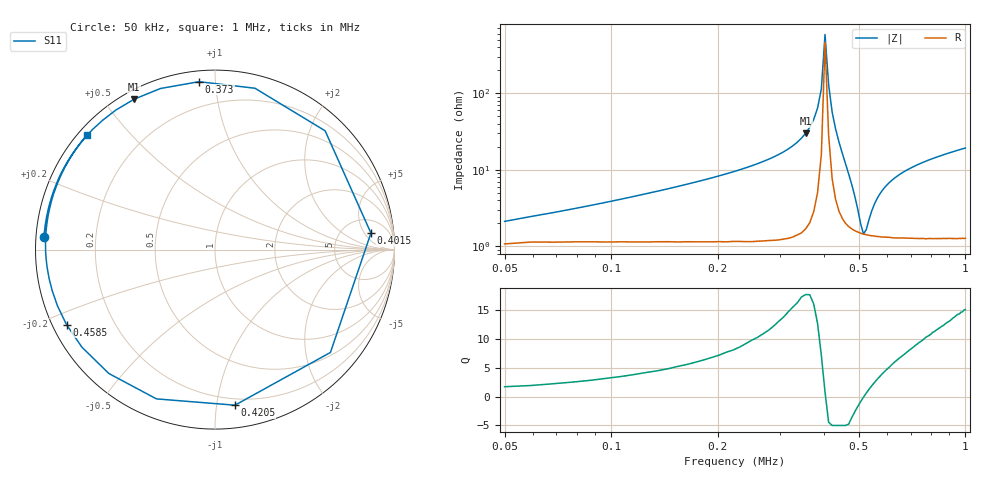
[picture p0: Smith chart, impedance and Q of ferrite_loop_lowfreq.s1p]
# Hz S RI R 50
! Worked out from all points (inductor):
!   101 points, 50 kHz to 1 MHz, reference 50 ohm
!   read as one part to ground: L = 5.48 uH near 97.5 kHz
!   highest Q = 17.6 at 354 kHz (marker M1), where L = 13.4 uH
!   self-resonance near 408.5 kHz
!   S11 on the Smith chart (normalised r, x): 50 kHz: 0.02, +0.04; 373 kHz: 0.06, +0.91; 401.5 kHz: 9, +7; 420.5 kHz: 0.15, -1.12; 458.5 kHz: 0.04, -0.24; 1 MHz: 0.03, +0.38
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50000  -0.9554 0.0698
173500  -0.9209 0.2566
240000  -0.8752 0.3868
287500  -0.8058 0.5159
306500  -0.7567 0.585
325500  -0.6809 0.6706
344500  -0.552 0.7778
354000  -0.4502 0.838
363500  -0.3044 0.8975
373000  -0.0894 0.9355
382500  0.2227 0.899
392000  0.6136 0.6618
401500  0.8688 0.092
411000  0.6432 -0.573
420500  0.1113 -0.8669
430000  -0.3262 -0.8317
439500  -0.5915 -0.6902
449000  -0.7413 -0.5439
458500  -0.8273 -0.418
468000  -0.8773 -0.3144
487000  -0.9247 -0.1592
506000  -0.9411 -0.0495
525000  -0.9442 0.0323
572500  -0.9324 0.1729
648500  -0.8984 0.3126
762500  -0.8405 0.4502
886000  -0.7741 0.5596
1000000  -0.7108 0.64
